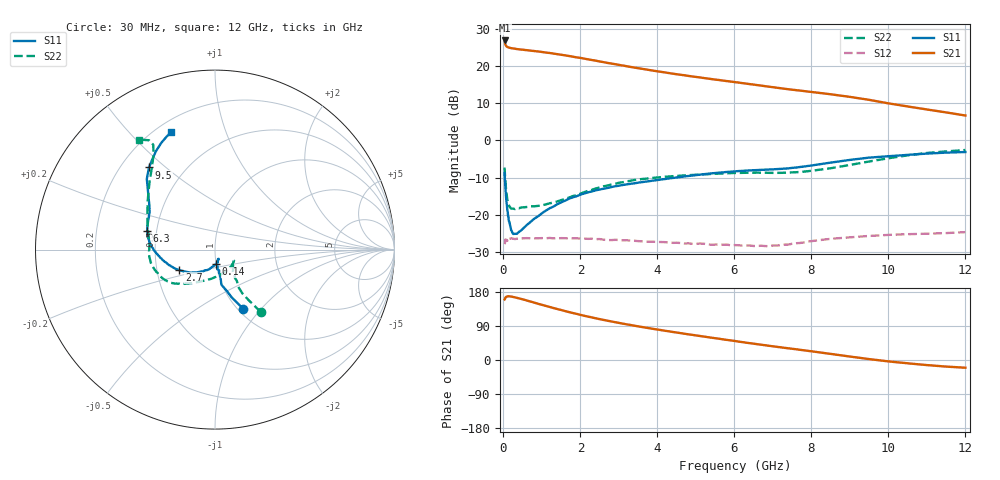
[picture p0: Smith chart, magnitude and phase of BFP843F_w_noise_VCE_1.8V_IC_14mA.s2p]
! Infineon Technologies  Discrete & RF Semiconductors
! BFP843F
! VCE =  1.8 V,  IC =  14 mA
! Common Emitter S-Parameters:  Aug 2013
# GHz  S  MA  R  50
!  f  S11  S21  S12  S22
! GHz  MAG  ANG  MAG  ANG  MAG  ANG  MAG  ANG
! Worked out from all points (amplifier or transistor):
!   103 points, 30 MHz to 12 GHz, reference 50 ohm
!   highest |S21| = 26.9 dB at 30 MHz (marker M1)
!   |S21| within 3 dB of that: start of sweep to 925.8 MHz
!   unconditionally stable (mu >= 1): 178.3 MHz to end of sweep
!   at 400 MHz: K = 1.01, MAG = 24.8 dB, |S12| = -26.3 dB
!   at 3.7 GHz: K = 1.19, MAG = 20.5 dB, |S12| = -27.3 dB
!   at 12 GHz: K = 1.27, MAG = 12.6 dB, |S12| = -24.7 dB
!   lowest NFmin = 0.84 dB at 450 MHz
!   S11 on the Smith chart (normalised r, x): 30 MHz: 1.06, -0.80; 140 MHz: 1.00, -0.17; 2.7 GHz: 0.65, -0.16; 6.3 GHz: 0.44, +0.11; 9.5 GHz: 0.31, +0.44; 12 GHz: 0.26, +0.66
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0.03  0.3637 -64.6  22.12 159.7  0.0402 26.4  0.4311 -53.7
0.04  0.2828 -70.7  20.51 161.2  0.042 22.4  0.3375 -56.4
0.05  0.2401 -74.0  19.52 164.3  0.0463 15.1  0.2875 -58.0
0.07  0.1663 -79.0  18.63 166.3  0.0452 14.4  0.2131 -55.1
0.11  0.1102 -83.7  18.05 168.0  0.0452 9.6  0.1531 -48.7
0.14  0.0824 -85.0  17.75 168.0  0.0471 7.8  0.1356 -41.9
0.3  0.0554 -68.3  17.13 165.3  0.0471 3.7  0.1192 -30.4
0.9  0.0954 -97.6  15.72 148.4  0.0483 1.1  0.1317 -59.0
1.3  0.129 -116.0  14.73 137.1  0.0481 -0.3  0.1459 -82.9
1.7  0.1641 -129.2  13.69 126.5  0.0482 -2.0  0.1698 -101.7
2.1  0.1935 -139.2  12.59 116.7  0.0478 -3.3  0.2013 -116.6
2.7  0.2293 -150.3  11.04 103.7  0.0457 -3.6  0.2469 -130.3
3.4  0.2648 -160.3  9.554 90.6  0.0447 -3.2  0.2937 -139.8
4.1  0.2985 -169.1  8.358 78.8  0.043 -2.6  0.3206 -147.3
5  0.3417 -179.7  7.151 64.9  0.0406 -0.2  0.3451 -156.8
6.1  0.3868 167.0  6.011 48.7  0.0389 4.2  0.3651 -169.9
6.3  0.3925 164.4  5.818 45.8  0.0386 6.1  0.367 -172.5
7.3  0.4172 151.0  4.959 32.1  0.0397 15.5  0.3675 174.7
8.5  0.5029 138.1  4.177 16.1  0.0475 19.7  0.4225 153.2
9.5  0.5871 128.8  3.514 2.4  0.0519 18.2  0.5206 134.6
10.5  0.6391 121.0  2.864 -8.7  0.0548 17.6  0.6299 122.9
12  0.6984 110.5  2.164 -20.4  0.0584 20.1  0.7435 124.5
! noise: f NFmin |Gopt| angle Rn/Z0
0.45  0.84  0.01  87  0.03
0.9  0.84  0.02  98  0.04
1.5  0.87  0.03  107  0.05
1.9  0.92  0.04  119  0.05
2.4  0.96  0.05  136  0.07
3.5  1.01  0.08  154  0.12
5.5  1.11  0.17  -161  0.2
10  1.66  0.36  -110  0.3
